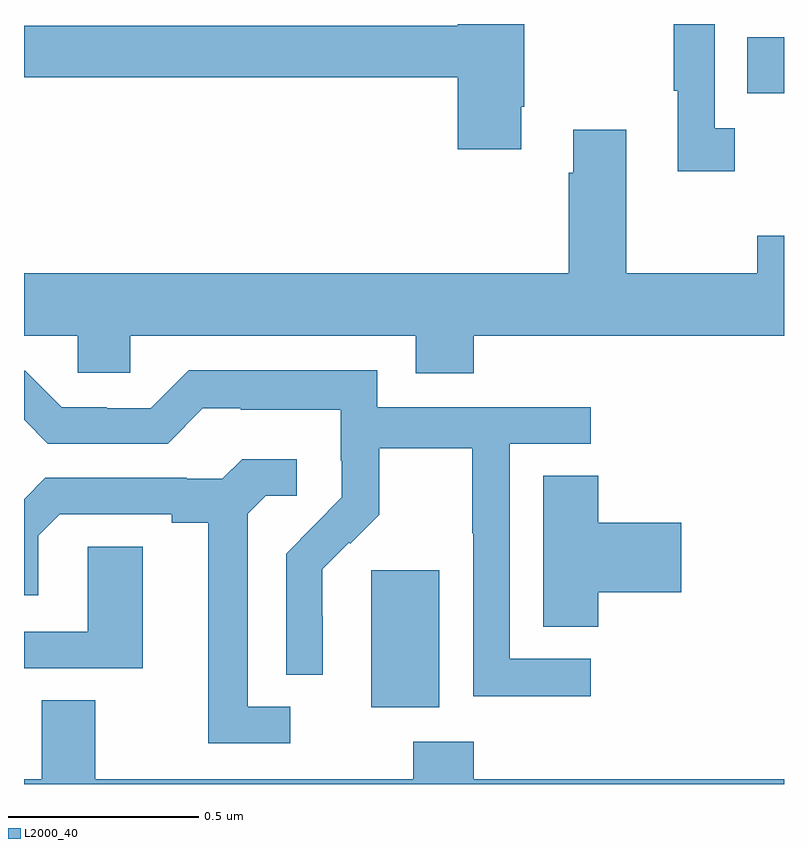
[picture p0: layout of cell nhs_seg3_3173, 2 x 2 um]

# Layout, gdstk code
import gdstk
lib = gdstk.Library(unit=1e-6, precision=1e-09)
def R(c, l, rs):  # rectangles x0, y0, x1, y1
    for r in rs: c.add(gdstk.rectangle(r[:2], r[2:], *l))
def P(c, l, *ps):  # polygons
    for p in ps: c.add(gdstk.Polygon(p, *l))
L2000_40 = (2000, 40)

nhs_seg3_3173 = lib.new_cell('nhs_seg3_3173')
R(nhs_seg3_3173, L2000_40, [(150.914,702.602,151.093,702.963), (151.903,704.218,152,704.365)])
P(nhs_seg3_3173, L2000_40, [(151.87,704.126),(151.818,704.126),(151.818,704.4),(151.71,704.4),(151.71,704.225),(151.721,704.225),(151.721,704.013),(151.87,704.013)],
  [(151.309,704.182),(151.317,704.182),(151.317,704.4),(151.142,704.4),(151.142,704.396),(150,704.396),(150,704.26),(151.142,704.26),(151.142,704.07),(151.309,704.07)],
  [(151.184,703.58),(152,703.58),(152,703.843),(151.93,703.843),(151.93,703.744),(151.585,703.744),(151.585,704.122),(151.445,704.122),(151.445,704.009),(151.433,704.009),(151.433,703.744),(150,703.744),(150,703.58),(150.141,703.58),(150.141,703.482),(150.279,703.482),(150.279,703.58),(151.031,703.58),(151.031,703.481),(151.184,703.481)],
  [(151.492,702.729),(151.278,702.729),(151.278,703.296),(151.492,703.296),(151.492,703.392),(150.93,703.392),(150.93,703.489),(150.433,703.489),(150.333,703.389),(150.218,703.389),(150.218,703.392),(150.099,703.392),(150.003,703.488),(150,703.488),(150,703.359),(150.063,703.296),(150.378,703.296),(150.471,703.389),(150.571,703.389),(150.571,703.385),(150.834,703.385),(150.834,703.251),(150.836,703.251),(150.836,703.154),(150.762,703.08),(150.763,703.079),(150.69,703.006),(150.69,702.688),(150.786,702.688),(150.786,702.842),(150.785,702.842),(150.785,702.965),(150.855,703.035),(150.858,703.032),(150.935,703.109),(150.935,703.284),(151.18,703.284),(151.18,703.06),(151.182,703.06),(151.182,702.631),(151.492,702.631)],
  [(150.7,702.603),(150.589,702.603),(150.589,703.111),(150.636,703.158),(150.718,703.158),(150.718,703.255),(150.574,703.255),(150.522,703.203),(150.428,703.203),(150.428,703.206),(150.056,703.206),(150,703.15),(150,702.897),(150.037,702.897),(150.037,703.053),(150.094,703.11),(150.389,703.11),(150.389,703.088),(150.485,703.088),(150.485,702.507),(150.7,702.507)],
  [(151.511,702.905),(151.729,702.905),(151.729,703.088),(151.511,703.088),(151.511,703.211),(151.367,703.211),(151.367,702.814),(151.511,702.814)],
  [(150.313,703.025),(150.168,703.025),(150.168,702.801),(150,702.801),(150,702.705),(150.313,702.705)],
  [(152,702.412),(151.184,702.412),(151.184,702.511),(151.024,702.511),(151.024,702.412),(150.187,702.412),(150.187,702.62),(150.047,702.62),(150.047,702.412),(150,702.412),(150,702.4),(152,702.4)])

lib.write_gds('nhs_seg3_3173.gds')
